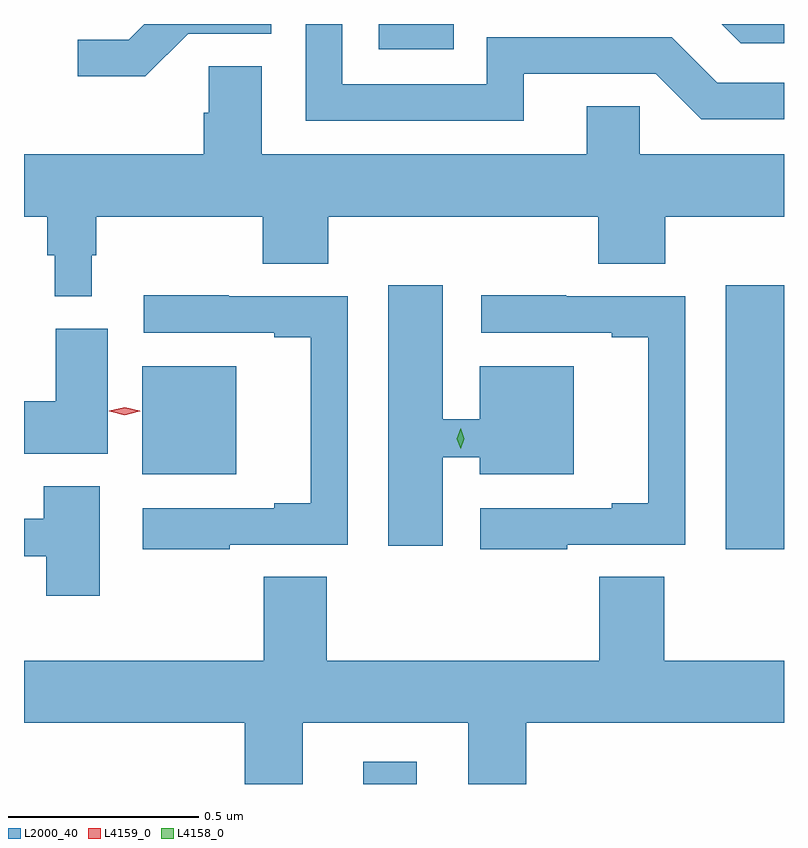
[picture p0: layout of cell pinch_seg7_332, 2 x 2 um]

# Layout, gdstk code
import gdstk
lib = gdstk.Library(unit=1e-6, precision=1e-09)
def R(c, l, rs):  # rectangles x0, y0, x1, y1
    for r in rs: c.add(gdstk.rectangle(r[:2], r[2:], *l))
def P(c, l, *ps):  # polygons
    for p in ps: c.add(gdstk.Polygon(p, *l))
L2000_40 = (2000, 40)
L4158_0 = (4158, 0)
L4159_0 = (4159, 0)

pinch_seg7_332 = lib.new_cell('pinch_seg7_332')
R(pinch_seg7_332, L2000_40, [(456.983,1041.747,457.123,1041.805), (457.937,1042.365,458.09,1043.059), (456.401,1042.562,456.649,1042.846), (457.023,1043.681,457.221,1043.747)])
P(pinch_seg7_332, L2000_40, [(457.405,1043.616),(457.752,1043.616),(457.872,1043.496),(458.09,1043.496),(458.09,1043.592),(457.914,1043.592),(457.794,1043.712),(457.308,1043.712),(457.308,1043.589),(456.927,1043.589),(456.927,1043.747),(456.831,1043.747),(456.831,1043.493),(457.405,1043.493)],
  [(456.522,1043.721),(456.741,1043.721),(456.741,1043.747),(456.406,1043.747),(456.365,1043.706),(456.231,1043.706),(456.231,1043.609),(456.409,1043.609)],
  [(458.09,1043.747),(457.926,1043.747),(457.976,1043.697),(458.09,1043.697)],
  [(456.09,1043.24),(456.151,1043.24),(456.151,1043.139),(456.171,1043.139),(456.171,1043.03),(456.268,1043.03),(456.268,1043.139),(456.28,1043.139),(456.28,1043.24),(456.718,1043.24),(456.718,1043.116),(456.89,1043.116),(456.89,1043.24),(457.601,1043.24),(457.601,1043.116),(457.778,1043.116),(457.778,1043.24),(458.09,1043.24),(458.09,1043.404),(457.71,1043.404),(457.71,1043.531),(457.571,1043.531),(457.571,1043.404),(456.715,1043.404),(456.715,1043.636),(456.576,1043.636),(456.576,1043.513),(456.563,1043.513),(456.563,1043.404),(456.09,1043.404)],
  [(457.192,1042.607),(457.289,1042.607),(457.289,1042.562),(457.537,1042.562),(457.537,1042.846),(457.289,1042.846),(457.289,1042.707),(457.192,1042.707),(457.192,1043.059),(457.049,1043.059),(457.049,1042.374),(457.192,1042.374)],
  [(457.52,1042.377),(457.83,1042.377),(457.83,1043.031),(457.517,1043.031),(457.517,1043.033),(457.293,1043.033),(457.293,1042.935),(457.637,1042.935),(457.637,1042.923),(457.733,1042.923),(457.733,1042.486),(457.637,1042.486),(457.637,1042.473),(457.29,1042.473),(457.29,1042.365),(457.52,1042.365)],
  [(456.632,1042.377),(456.942,1042.377),(456.942,1043.031),(456.629,1043.031),(456.629,1043.033),(456.405,1043.033),(456.405,1042.935),(456.749,1042.935),(456.749,1042.923),(456.845,1042.923),(456.845,1042.486),(456.749,1042.486),(456.749,1042.473),(456.402,1042.473),(456.402,1042.365),(456.632,1042.365)],
  [(456.31,1042.945),(456.173,1042.945),(456.173,1042.754),(456.09,1042.754),(456.09,1042.616),(456.31,1042.616)],
  [(456.289,1042.531),(456.142,1042.531),(456.142,1042.445),(456.09,1042.445),(456.09,1042.347),(456.149,1042.347),(456.149,1042.242),(456.289,1042.242)],
  [(456.823,1041.908),(457.259,1041.908),(457.259,1041.747),(457.412,1041.747),(457.412,1041.908),(458.09,1041.908),(458.09,1042.072),(457.775,1042.072),(457.775,1042.292),(457.604,1042.292),(457.604,1042.072),(456.887,1042.072),(456.887,1042.292),(456.721,1042.292),(456.721,1042.072),(456.09,1042.072),(456.09,1041.908),(456.671,1041.908),(456.671,1041.747),(456.823,1041.747)])
P(pinch_seg7_332, L4158_0, [(457.239,1042.629),(457.239,1042.629),(457.229,1042.656),(457.239,1042.683),(457.239,1042.683),(457.239,1042.683),(457.249,1042.656),(457.239,1042.629)])
P(pinch_seg7_332, L4159_0, [(456.355,1042.718),(456.314,1042.728),(456.314,1042.728),(456.314,1042.729),(456.355,1042.738),(456.395,1042.729),(456.396,1042.728),(456.395,1042.728)])

lib.write_gds('pinch_seg7_332.gds')
